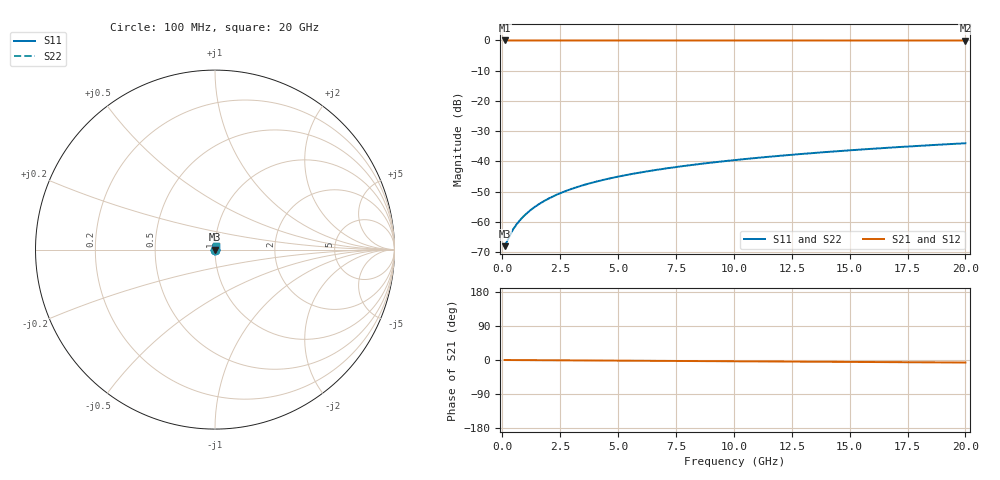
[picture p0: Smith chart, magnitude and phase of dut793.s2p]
! Touchstone file exported from HFSS 2026.1.0
!  File:  C:/ffzhzh/LocalFiles/Ansys_Project_Files/temp_train_TSV_793_1783183906_51560.aedt
!  Generated:  12:53:28 AM Jul  5, 2026
!  Design:  TSV
!  Project:  temp_train_TSV_793_1783183906_51560
! Variables:
!  h_bsmrdl = 2um
!  h_ox = 20um
!  h_rdl = 5um
!  h_sub = 68.42um
!  h_tmrdl = 5um
!  h_tsv = 68.42um
!  h_via = 3um
!  l_bsmrdl = 300um
!  l_sub = 409.66um
!  l_tmrdl = 200um
!  m_sub = 200um
!  pitch = 24.54um
!  r_tsv = 4.83um
!  s_tmrdl = 10um
!  w_bsmrdl = 18um
!  w_sub = 500um
!  w_tmrdl = 12um
!  x_tsv_center1 = 206um
!  x_tsv_center2 = 524um
!  x_tsv_center3 = 736um
!  x_tsv_center4 = 1054um
!  x_tsv_center5 = 1266um
!  x_tsv_center6 = 1584um
# GHz S MA R 50.000000
! Terminal data exported
! Port[1] = TSV1_1_T1
! Port[2] = TSV1_1_T2
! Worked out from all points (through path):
!   200 points, 100 MHz to 20 GHz, reference 50 ohm
!   highest |S21| = 0.00 dB at 100 MHz (marker M1); lowest = 0.0 dB at 20 GHz (marker M2)
!   lowest |S11| = -68.0 dB at 100 MHz (marker M3), VSWR 1.00, Z = 50 + j0.0144 ohm
!   |S11| at or under -10 dB: start of sweep to end of sweep
!   |S22| runs from -68.0 to -34.0 dB; largest |S21 - S12| = 2.1e-15
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0.1  0.0003987 21.1  0.9996 -0.0  0.9996 -0.0  0.0003987 21.1
! Gamma 0 0 0 0
! Port Impedance 50 0 50 0
0.3  0.0005783 45.5  0.9996 -0.1  0.9996 -0.1  0.0005783 45.5
0.4  0.0006838 51.6  0.9996 -0.1  0.9996 -0.1  0.0006838 51.6
0.5  0.0007904 55.9  0.9996 -0.2  0.9996 -0.2  0.0007904 55.9
0.6  0.0008971 59.3  0.9995 -0.2  0.9995 -0.2  0.0008971 59.3
0.7  0.001004 61.9  0.9995 -0.2  0.9995 -0.2  0.001004 61.9
0.9  0.00122 65.9  0.9995 -0.3  0.9995 -0.3  0.00122 65.9
1.1  0.001439 68.7  0.9995 -0.4  0.9995 -0.4  0.001439 68.7
1.3  0.00166 70.8  0.9995 -0.5  0.9995 -0.5  0.00166 70.8
1.7  0.002104 73.6  0.9994 -0.6  0.9994 -0.6  0.002104 73.6
2.2  0.002659 75.5  0.9994 -0.8  0.9994 -0.8  0.002659 75.5
2.8  0.003317 76.7  0.9993 -1.0  0.9993 -1.0  0.003317 76.7
3.5  0.004068 77.5  0.9992 -1.2  0.9992 -1.2  0.004068 77.5
4.2  0.004801 77.9  0.9991 -1.4  0.9991 -1.4  0.004801 77.9
5  0.005619 78.2  0.999 -1.7  0.999 -1.7  0.005619 78.2
5.9  0.006522 78.4  0.9989 -2.0  0.9989 -2.0  0.006522 78.4
6.8  0.007411 78.5  0.9988 -2.3  0.9988 -2.3  0.007411 78.5
8.3  0.008873 78.7  0.9987 -2.8  0.9987 -2.8  0.008873 78.7
10.1  0.01061 78.8  0.9985 -3.4  0.9985 -3.4  0.01061 78.8
13.4  0.01377 78.6  0.9983 -4.5  0.9983 -4.5  0.01377 78.6
16.7  0.01691 78.2  0.998 -5.6  0.998 -5.6  0.01691 78.2
20  0.02001 77.5  0.9978 -6.7  0.9978 -6.7  0.02001 77.5
